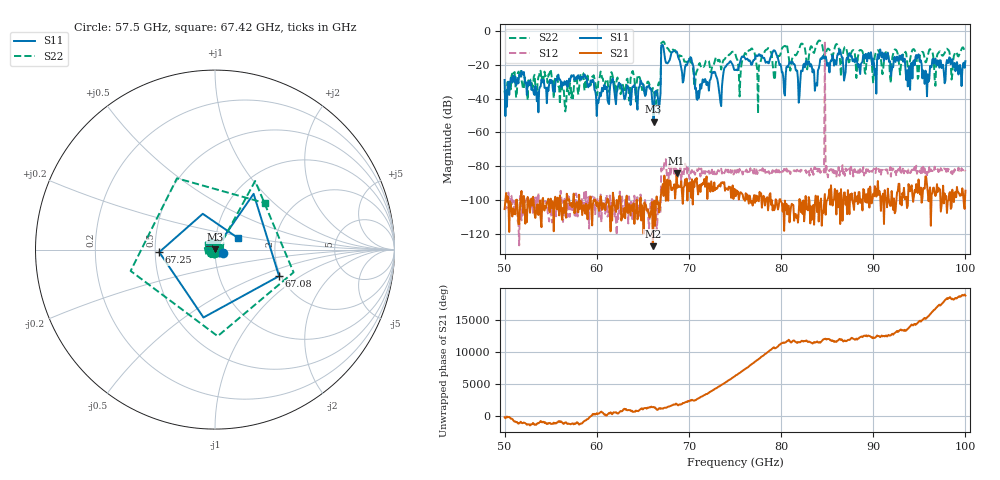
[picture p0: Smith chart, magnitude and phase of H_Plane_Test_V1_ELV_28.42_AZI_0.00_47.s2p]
! 11/27/2026 8:32:59 AM
! C:\ANRITSUVNA\TEMP\TEMP.S2P
! CHANNEL.1
! TR.MEASUREMENT
! RAW.DATA
# HZ S RI R 50.0
! FREQ.HZ  S11RE  S11IM  S21RE  S21IM  S12RE  S12IM  S22RE  S22IM
!; PortSelection: Port_12
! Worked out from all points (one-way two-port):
!   601 points, 50 GHz to 100 GHz, reference 50 ohm
!   highest |S21| = -84.18 dB at 68.67 GHz (marker M1); lowest = -127.4 dB at 66.08 GHz (marker M2)
!   lowest |S11| = -53.7 dB at 66.17 GHz (marker M3), VSWR 1.00, Z = 50.1 + j0.156 ohm
!   |S11| at or under -10 dB: start of sweep to 67 GHz; 67.24 GHz to end of sweep
!   |S22| runs from -48.9 to -5.6 dB; largest |S21 - S12| = 0.48
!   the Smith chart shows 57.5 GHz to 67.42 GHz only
!   S11 on the Smith chart (normalised r, x): 57.5 GHz: 1.09, -0.05; 67.08 GHz: 1.95, -0.68; 67.25 GHz: 0.53, -0.02; 67.42 GHz: 1.29, +0.17
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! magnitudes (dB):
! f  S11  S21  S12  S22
! 50 GHz  -29.0  -105.5  -105.8  -35.3
! 57.5 GHz  -26.1  -96.3  -100.4  -34.5
! 58.42 GHz  -27.1  -109.0  -98.8  -24.8
! 60.17 GHz  -42.6  -104.9  -104.9  -30.1
! 66.08 GHz  -45.7  -127.4  -114.5  -33.8
! 66.17 GHz  -53.7  -111.6  -99.2  -34.0
! 66.67 GHz  -41.8  -101.4  -101.7  -31.6
! 67.08 GHz  -8.3  -92.7  -83.1  -6.8
! 67.25 GHz  -10.1  -97.7  -81.9  -6.3
! 67.42 GHz  -16.8  -90.6  -77.0  -8.4
! 68.67 GHz  -12.1  -84.2  -81.9  -13.4
! 70.25 GHz  -15.9  -98.8  -83.0  -18.7
! 70.92 GHz  -40.8  -92.8  -83.0  -23.1
! 75 GHz  -23.1  -93.8  -82.4  -13.0
! 77.58 GHz  -13.8  -100.9  -83.1  -21.7
! 78.5 GHz  -18.2  -98.4  -83.7  -10.8
! 79.33 GHz  -11.7  -104.9  -82.9  -28.8
! 80.25 GHz  -27.9  -102.5  -83.2  -9.4
! 83.42 GHz  -24.5  -104.5  -81.7  -10.8
! 91.67 GHz  -16.6  -98.7  -83.7  -15.2
! 95.83 GHz  -38.6  -90.8  -85.5  -16.4
! 100 GHz  -17.9  -94.5  -83.0  -12.5
